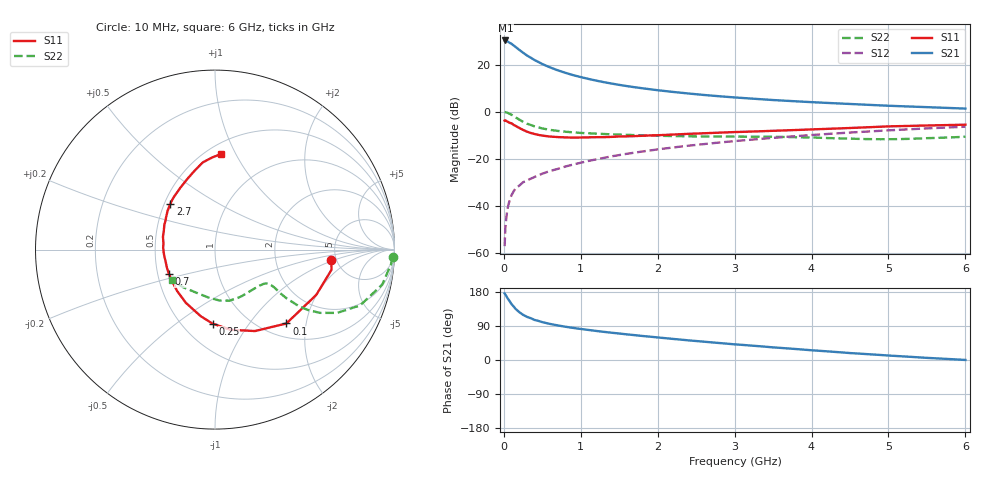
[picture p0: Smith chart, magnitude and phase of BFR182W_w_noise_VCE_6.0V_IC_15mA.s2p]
! Infineon Technologies  Discrete & RF Semiconductors
! BFR182W
! VCE =  6.0 V,  IC =  15 mA
! Common Emitter S-Parameters:  Jan 2017
# GHz  S  MA  R  50
!  f  S11  S21  S12  S22
! GHz  MAG  ANG  MAG  ANG  MAG  ANG  MAG  ANG
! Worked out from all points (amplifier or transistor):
!   77 points, 10 MHz to 6 GHz, reference 50 ohm
!   highest |S21| = 30.3 dB at 20 MHz (marker M1)
!   |S21| within 3 dB of that: start of sweep to 162.4 MHz
!   unconditionally stable (mu >= 1): 908.5 MHz to 2.462 GHz
!   at 130 MHz: K = 0.36, MSG = 30.9 dB, |S12| = -33.6 dB
!   at 2.2 GHz: K = 1.02, MAG = 11.0 dB, |S12| = -15.2 dB
!   at 6 GHz: K = 0.86, MSG = 3.9 dB, |S12| = -6.3 dB
!   lowest NFmin = 1.25 dB at 450 MHz
!   S11 on the Smith chart (normalised r, x): 10 MHz: 4.53, -0.87; 100 MHz: 1.26, -1.55; 250 MHz: 0.69, -0.69; 700 MHz: 0.57, -0.17; 2.7 GHz: 0.54, +0.31; 6 GHz: 0.59, +0.87
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0.01  0.6495 -4.9  32.61 175.8  0.0014 84.7  0.991 -2.3
0.02  0.659 -9.8  32.76 172.6  0.0034 98.9  0.9837 -4.9
0.05  0.618 -24.1  31.16 162.4  0.009 78.6  0.9521 -11.8
0.1  0.5723 -46.0  27.82 147.3  0.017 72.7  0.8658 -21.1
0.15  0.5054 -63.9  24.07 135.4  0.0233 66.6  0.7664 -27.4
0.2  0.4549 -79.0  20.73 126.4  0.027 65.8  0.6825 -31.1
0.25  0.4129 -91.8  18.01 119.2  0.0319 62.7  0.6144 -33.1
0.3  0.3792 -102.2  15.74 113.9  0.0347 62.9  0.5608 -34.0
0.4  0.3378 -118.8  12.55 105.7  0.0413 63.8  0.4894 -34.3
0.5  0.3128 -132.3  10.33 99.9  0.0485 64.7  0.4433 -33.8
0.6  0.2979 -142.8  8.791 95.2  0.0553 65.6  0.4135 -33.1
0.7  0.2907 -152.2  7.62 91.3  0.0612 67.2  0.393 -32.6
0.9  0.283 -166.1  6.015 84.7  0.0758 68.0  0.3664 -32.3
1.1  0.2867 -177.3  4.994 79.3  0.0905 68.5  0.3501 -32.8
1.3  0.2893 173.5  4.263 74.3  0.1051 68.5  0.3379 -34.1
1.5  0.299 165.9  3.732 69.9  0.1205 68.4  0.328 -36.1
2.1  0.3229 148.2  2.756 57.6  0.1668 65.8  0.3074 -45.6
2.7  0.3553 134.6  2.209 46.6  0.2142 62.2  0.2991 -58.0
3.1  0.3752 126.6  1.968 39.9  0.2465 59.3  0.2968 -66.2
4.1  0.4283 110.0  1.575 24.3  0.3293 51.2  0.281 -87.2
5.1  0.4943 96.8  1.326 10.6  0.4116 41.8  0.2627 -117.7
6  0.5326 86.7  1.171 0.1  0.4823 32.8  0.2957 -144.9
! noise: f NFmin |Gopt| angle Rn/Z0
0.45  1.25  0.04  146  0.15
0.9  1.33  0.05  146  0.15
1.9  1.82  0.24  -148  0.15
2.4  2.07  0.24  -133  0.22
